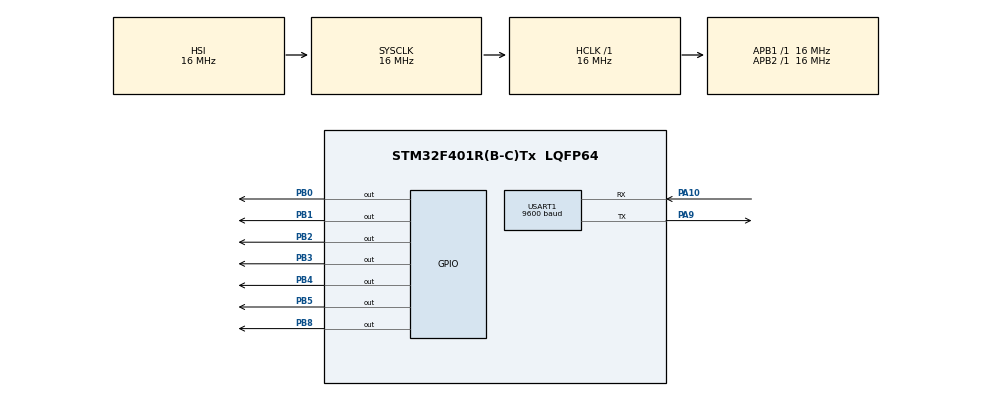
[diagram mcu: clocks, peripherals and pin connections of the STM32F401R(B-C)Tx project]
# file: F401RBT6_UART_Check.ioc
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Mcu.Family=STM32F4
Mcu.Name=STM32F401R(B-C)Tx
Mcu.Package=LQFP64
NVIC.PriorityGroup=NVIC_PRIORITYGROUP_4
NVIC.USART1_IRQn=true\:0\:0\:false\:false\:true\:true\:true\:true
PA10.Mode=Asynchronous
PA10.Signal=USART1_RX
PA13.Mode=Serial_Wire
PA13.Signal=SYS_JTMS-SWDIO
PA14.Mode=Serial_Wire
PA14.Signal=SYS_JTCK-SWCLK
PA9.Mode=Asynchronous
PA9.Signal=USART1_TX
PB0.Signal=GPIO_Output
PB1.Signal=GPIO_Output
PB2.Signal=GPIO_Output
PB3.Signal=GPIO_Output
PB4.Signal=GPIO_Output
PB5.Signal=GPIO_Output
PB8.Signal=GPIO_Output
PC14-OSC32_IN.Mode=LSE-External-Oscillator
PC14-OSC32_IN.Signal=RCC_OSC32_IN
PC15-OSC32_OUT.Mode=LSE-External-Oscillator
PC15-OSC32_OUT.Signal=RCC_OSC32_OUT
PH0\ -\ OSC_IN.Mode=HSE-External-Oscillator
PH0\ -\ OSC_IN.Signal=RCC_OSC_IN
PH1\ -\ OSC_OUT.Mode=HSE-External-Oscillator
PH1\ -\ OSC_OUT.Signal=RCC_OSC_OUT
ProjectManager.HeapSize=0x200
ProjectManager.StackSize=0x400
ProjectManager.TargetToolchain=STM32CubeIDE
RCC.AHBFreq_Value=16000000
RCC.APB1Freq_Value=16000000
RCC.APB2Freq_Value=16000000
RCC.CortexFreq_Value=16000000
RCC.HSE_VALUE=25000000
RCC.HSI_VALUE=16000000
RCC.SYSCLKFreq_VALUE=16000000
RCC.VCOOutputFreq_Value=192000000
USART1.BaudRate=9600
USART1.VirtualMode=VM_ASYNC
board=custom

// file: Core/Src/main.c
/* USER CODE BEGIN Header */
/**
 ******************************************************************************
 * @file           : main.c
 * @brief          : Main program body
 ******************************************************************************
 * @attention
 *
 * Copyright (c) 2025 STMicroelectronics.
 * All rights reserved.
 *
 * This software is licensed under terms that can be found in the LICENSE file
 * in the root directory of this software component.
 * If no LICENSE file comes with this software, it is provided AS-IS.
 *
 ******************************************************************************
 */
/* USER CODE END Header */
#include "main.h"

/* USER CODE BEGIN Includes */
#define LCD_RS_GPIO_Port GPIOB
#define LCD_RS_Pin       GPIO_PIN_4

#define LCD_RW_GPIO_Port GPIOB
#define LCD_RW_Pin       GPIO_PIN_5   // Tie to GND if not used

#define LCD_EN_GPIO_Port GPIOB
#define LCD_EN_Pin       GPIO_PIN_8

#define LCD_D4_GPIO_Port GPIOB
#define LCD_D4_Pin       GPIO_PIN_0
#define LCD_D5_Pin       GPIO_PIN_1
#define LCD_D6_Pin       GPIO_PIN_2
#define LCD_D7_Pin       GPIO_PIN_3

char uart_rx_data;
/* USER CODE END Includes */

/* USER CODE BEGIN PTD */
volatile uint8_t uart_rx_byte_flag = 0;   // 0 = empty, 1 = data pending
volatile uint8_t uart_rx_byte_value = 0;
/* USER CODE END PTD */

UART_HandleTypeDef huart1;

void SystemClock_Config(void);
static void MX_GPIO_Init(void);
static void MX_USART1_UART_Init(void);

/* USER CODE BEGIN 0 */
static void LCD_EnablePulse(void) {
	HAL_GPIO_WritePin(LCD_EN_GPIO_Port, LCD_EN_Pin, GPIO_PIN_SET);
	HAL_Delay(1);
	HAL_GPIO_WritePin(LCD_EN_GPIO_Port, LCD_EN_Pin, GPIO_PIN_RESET);
	HAL_Delay(1);
}

static void LCD_Send4Bits(uint8_t data) {
	HAL_GPIO_WritePin(LCD_D4_GPIO_Port, LCD_D4_Pin, (data >> 0) & 0x01);
	HAL_GPIO_WritePin(LCD_D4_GPIO_Port, LCD_D5_Pin, (data >> 1) & 0x01);
	HAL_GPIO_WritePin(LCD_D4_GPIO_Port, LCD_D6_Pin, (data >> 2) & 0x01);
	HAL_GPIO_WritePin(LCD_D4_GPIO_Port, LCD_D7_Pin, (data >> 3) & 0x01);
	LCD_EnablePulse();
}

static void LCD_SendCmd(uint8_t cmd) {
	HAL_GPIO_WritePin(LCD_RS_GPIO_Port, LCD_RS_Pin, GPIO_PIN_RESET); // RS=0 → command
	HAL_GPIO_WritePin(LCD_RW_GPIO_Port, LCD_RW_Pin, GPIO_PIN_RESET); // RW=0 → write

	LCD_Send4Bits(cmd >> 4);   // high nibble
	LCD_Send4Bits(cmd & 0x0F); // low nibble
	HAL_Delay(2);
}

static void LCD_SendData(uint8_t data) {
	HAL_GPIO_WritePin(LCD_RS_GPIO_Port, LCD_RS_Pin, GPIO_PIN_SET); // RS=1 → data
	HAL_GPIO_WritePin(LCD_RW_GPIO_Port, LCD_RW_Pin, GPIO_PIN_RESET); // RW=0 → write

	LCD_Send4Bits(data >> 4);
	LCD_Send4Bits(data & 0x0F);
	HAL_Delay(2);
}

static void LCD_Init(void) {
	HAL_Delay(50);  // wait for LCD to power up

	LCD_Send4Bits(0x03);
	HAL_Delay(5);
	LCD_Send4Bits(0x03);
	HAL_Delay(5);
	LCD_Send4Bits(0x03);
	HAL_Delay(1);
	LCD_Send4Bits(0x02); // 4-bit mode

	LCD_SendCmd(0x28); // 4-bit, 2 line, 5x8 dots
	LCD_SendCmd(0x0C); // Display ON, cursor OFF
	LCD_SendCmd(0x06); // Entry mode: auto-increment
	LCD_SendCmd(0x01); // Clear display
	HAL_Delay(2);
}

static void LCD_Print(char *str) {
	while (*str) {
		LCD_SendData(*str++);
	}
}

/* ---------------- UART Callback ---------------- */

/* USER CODE END 0 */

int main(void) {

	/* MCU Configuration--------------------------------------------------------*/

	/* Reset of all peripherals, Initializes the Flash interface and the Systick. */
	HAL_Init();

	/* Configure the system clock */
	SystemClock_Config();

	/* Initialize all configured peripherals */
	MX_GPIO_Init();
	MX_USART1_UART_Init();
	/* USER CODE BEGIN 2 */
	LCD_Init();
	LCD_Print("UART1->LCD");

	/* start first receive */
	HAL_UART_Receive_IT(&huart1, (uint8_t*) &uart_rx_data, 1);

	/* USER CODE END 2 */

	/* Infinite loop */
	while (1) {
		if (uart_rx_byte_flag)  // new byte arrived
		{
			uint8_t d = uart_rx_byte_value;

			/* print to LCD (safe here; uses HAL_Delay internally) */
			LCD_SendData(d);

			/* echo back to PC (blocking transmit is OK in main loop) */
			HAL_UART_Transmit(&huart1, &d, 1, HAL_MAX_DELAY);

			/* clear flag */
			 uart_rx_byte_flag = 0;
		}
	}
}

void HAL_UART_RxCpltCallback(UART_HandleTypeDef *huart) {
	if (huart->Instance == USART1) {
		/* copy byte into buffer and set flag (do NOT call HAL_Delay or HAL_UART_Transmit here) */
		uart_rx_byte_value = (uint8_t) uart_rx_data;
		uart_rx_byte_flag = 1;

		/* re-arm RX for next byte */
		HAL_UART_Receive_IT(&huart1, (uint8_t*) &uart_rx_data, 1);
	}
}

void SystemClock_Config(void) {
	RCC_OscInitTypeDef RCC_OscInitStruct = { 0 };
	RCC_ClkInitTypeDef RCC_ClkInitStruct = { 0 };

	/** Configure the main internal regulator output voltage
	 */
	__HAL_RCC_PWR_CLK_ENABLE();
	__HAL_PWR_VOLTAGESCALING_CONFIG(PWR_REGULATOR_VOLTAGE_SCALE2);

	/** Initializes the RCC Oscillators according to the specified parameters
	 * in the RCC_OscInitTypeDef structure.
	 */
	RCC_OscInitStruct.OscillatorType = RCC_OSCILLATORTYPE_HSI;
	RCC_OscInitStruct.HSIState = RCC_HSI_ON;
	RCC_OscInitStruct.HSICalibrationValue = RCC_HSICALIBRATION_DEFAULT;
	RCC_OscInitStruct.PLL.PLLState = RCC_PLL_NONE;
	if (HAL_RCC_OscConfig(&RCC_OscInitStruct) != HAL_OK) {
		Error_Handler();
	}

	/** Initializes the CPU, AHB and APB buses clocks
	 */
	RCC_ClkInitStruct.ClockType = RCC_CLOCKTYPE_HCLK | RCC_CLOCKTYPE_SYSCLK
			| RCC_CLOCKTYPE_PCLK1 | RCC_CLOCKTYPE_PCLK2;
	RCC_ClkInitStruct.SYSCLKSource = RCC_SYSCLKSOURCE_HSI;
	RCC_ClkInitStruct.AHBCLKDivider = RCC_SYSCLK_DIV1;
	RCC_ClkInitStruct.APB1CLKDivider = RCC_HCLK_DIV1;
	RCC_ClkInitStruct.APB2CLKDivider = RCC_HCLK_DIV1;

	if (HAL_RCC_ClockConfig(&RCC_ClkInitStruct, FLASH_LATENCY_0) != HAL_OK) {
		Error_Handler();
	}
}

static void MX_USART1_UART_Init(void) {

	huart1.Instance = USART1;
	huart1.Init.BaudRate = 9600;
	huart1.Init.WordLength = UART_WORDLENGTH_8B;
	huart1.Init.StopBits = UART_STOPBITS_1;
	huart1.Init.Parity = UART_PARITY_NONE;
	huart1.Init.Mode = UART_MODE_TX_RX;
	huart1.Init.HwFlowCtl = UART_HWCONTROL_NONE;
	huart1.Init.OverSampling = UART_OVERSAMPLING_16;
	if (HAL_UART_Init(&huart1) != HAL_OK) {
		Error_Handler();
	}

}

static void MX_GPIO_Init(void) {
	GPIO_InitTypeDef GPIO_InitStruct = { 0 };

	/* GPIO Ports Clock Enable */
	__HAL_RCC_GPIOC_CLK_ENABLE();
	__HAL_RCC_GPIOH_CLK_ENABLE();
	__HAL_RCC_GPIOB_CLK_ENABLE();
	__HAL_RCC_GPIOA_CLK_ENABLE();

	/*Configure GPIO pin Output Level */
	HAL_GPIO_WritePin(GPIOB,
			GPIO_PIN_0 | GPIO_PIN_1 | GPIO_PIN_2 | GPIO_PIN_3 | GPIO_PIN_4
					| GPIO_PIN_5 | GPIO_PIN_8, GPIO_PIN_RESET);

	/*Configure GPIO pins : PB0 PB1 PB2 PB3
	 PB4 PB5 PB8 */
	GPIO_InitStruct.Pin = GPIO_PIN_0 | GPIO_PIN_1 | GPIO_PIN_2 | GPIO_PIN_3
			| GPIO_PIN_4 | GPIO_PIN_5 | GPIO_PIN_8;
	GPIO_InitStruct.Mode = GPIO_MODE_OUTPUT_PP;
	GPIO_InitStruct.Pull = GPIO_NOPULL;
	GPIO_InitStruct.Speed = GPIO_SPEED_FREQ_LOW;
	HAL_GPIO_Init(GPIOB, &GPIO_InitStruct);

}

void Error_Handler(void) {
	__disable_irq();
	while (1) {
	}
}
